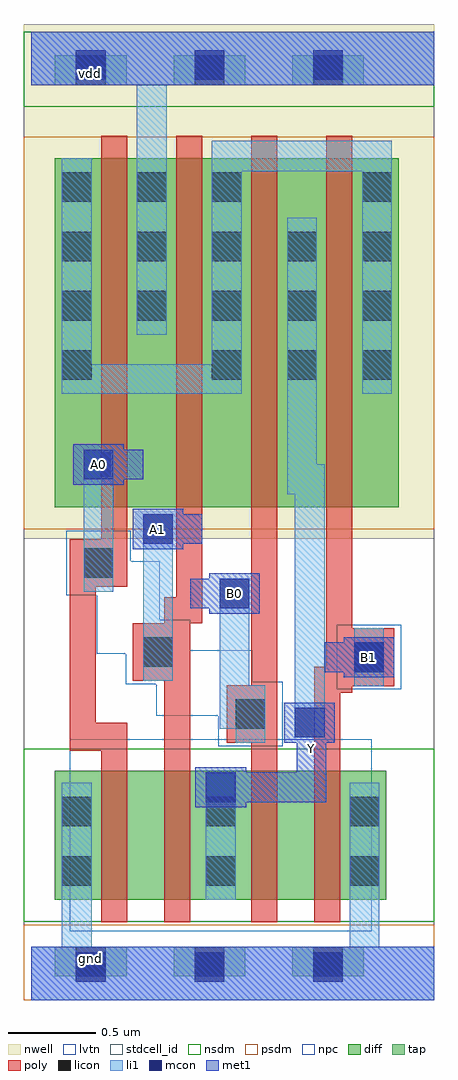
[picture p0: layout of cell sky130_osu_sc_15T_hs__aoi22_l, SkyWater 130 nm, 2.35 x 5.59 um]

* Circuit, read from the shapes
.subckt sky130_osu_sc_15T_hs__aoi22_l A0 A1 B0 B1 Y gnd vdd
XM1 n1 A0 gnd gnd sky130_fd_pr__nfet_01v8_lvt w=0.74 l=0.15
XM2 Y A1 n1 gnd sky130_fd_pr__nfet_01v8_lvt w=0.74 l=0.15
XM3 n2 B0 Y gnd sky130_fd_pr__nfet_01v8_lvt w=0.74 l=0.15
XM4 gnd B1 n2 gnd sky130_fd_pr__nfet_01v8_lvt w=0.74 l=0.15
XM5 vdd A0 n3 vdd sky130_fd_pr__pfet_01v8 w=2 l=0.15
XM6 n3 A1 vdd vdd sky130_fd_pr__pfet_01v8 w=2 l=0.15
XM7 Y B0 n3 vdd sky130_fd_pr__pfet_01v8 w=2 l=0.15
XM8 n3 B1 Y vdd sky130_fd_pr__pfet_01v8 w=2 l=0.15
.ends

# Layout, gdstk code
import gdstk
lib = gdstk.Library(unit=1e-6, precision=1e-09)
def R(c, l, rs):  # rectangles x0, y0, x1, y1
    for r in rs: c.add(gdstk.rectangle(r[:2], r[2:], *l))
def A(c, l, x, y, w, h, nx, ny, dx, dy):  # array of equal rectangles
    R(c, l, [(x+i*dx, y+j*dy, x+i*dx+w, y+j*dy+h) for i in range(nx) for j in range(ny)])
nwell = (64, 20)
diff = (65, 20)
tap = (65, 44)
poly = (66, 20)
licon = (66, 44)
li1 = (67, 20)
mcon = (67, 44)
met1 = (68, 20)
stdcell_id = (81, 4)
nsdm = (93, 44)
psdm = (94, 20)
npc = (95, 20)
lvtn = (125, 44)

sky130_osu_sc_15t_hs__ao = lib.new_cell('sky130_osu_sc_15T_hs__aoi22_l')
R(sky130_osu_sc_15t_hs__ao, nwell, [(-0.045,2.645,2.31,5.595)])
R(sky130_osu_sc_15t_hs__ao, diff, [(0.135,0.575,2.035,1.315), (0.135,2.825,2.105,4.825)])
A(sky130_osu_sc_15t_hs__ao, tap, 0.135, 0.135, 0.41, 0.17, 3, 2, 0.68, 5.11)
R(sky130_osu_sc_15t_hs__ao, poly, [(0.4,0.445,0.55,1.43), (0.76,0.445,0.91,1.83), (1.26,0.445,1.41,1.475), (1.62,0.445,1.77,1.76), (0.22,1.43,0.55,1.59), (1.12,1.475,1.41,1.805), (0.22,1.59,0.37,2.37), (1.62,1.76,1.84,1.8), (1.62,1.8,2.08,1.91), (1.26,1.805,1.41,4.955), (0.58,1.83,0.91,2.16), (1.69,1.91,2.08,2.13), (1.69,2.13,1.84,4.955), (0.76,2.16,0.98,2.31), (0.83,2.31,0.98,4.955), (0.22,2.37,0.55,2.64), (0.4,2.64,0.55,4.955)])
A(sky130_osu_sc_15t_hs__ao, licon, 0.255, 0.135, 0.17, 0.17, 3, 2, 0.68, 5.11)
A(sky130_osu_sc_15t_hs__ao, licon, 0.175, 0.655, 0.17, 0.17, 3, 2, 0.825, 0.34)
A(sky130_osu_sc_15t_hs__ao, licon, 1.035, 3.555, 0.17, 0.17, 3, 1, 0.43, 0)
A(sky130_osu_sc_15t_hs__ao, licon, 0.175, 3.895, 0.17, 0.17, 5, 2, 0.43, 0.34)
A(sky130_osu_sc_15t_hs__ao, licon, 0.175, 4.575, 0.17, 0.17, 3, 1, 0.43, 0)
R(sky130_osu_sc_15t_hs__ao, licon, [(1.17,1.555,1.34,1.725), (1.85,1.88,2.02,2.05), (0.64,1.91,0.81,2.08), (0.3,2.42,0.47,2.59), (0.175,3.555,0.345,3.725), (1.895,4.575,2.065,4.745)])
R(sky130_osu_sc_15t_hs__ao, li1, [(0,0,2.31,0.305), (0.175,0.305,0.345,1.245), (1.825,0.305,1.995,1.245), (1,0.575,1.17,1.305), (1.17,1.475,1.34,1.555), (1.51,1.505,1.68,2.9), (1.08,1.555,1.34,1.805), (1.85,1.8,2.02,2.13), (1.08,1.805,1.25,2.415), (0.64,1.83,0.81,2.785), (0.3,2.34,0.47,3.155), (1.465,2.9,1.68,3.07), (1.465,3.07,1.635,4.485), (0.175,3.475,1.205,3.645), (1.895,3.475,2.065,4.75), (0.175,3.645,0.345,4.825), (1.035,3.645,1.205,4.75), (0.605,3.815,0.775,5.245), (1.035,4.75,2.065,4.925), (0,5.245,2.31,5.55)])
A(sky130_osu_sc_15t_hs__ao, mcon, 0.255, 0.105, 0.17, 0.17, 3, 2, 0.68, 5.17)
R(sky130_osu_sc_15t_hs__ao, mcon, [(1,1.135,1.17,1.305), (1.51,1.505,1.68,1.675), (1.85,1.88,2.02,2.05), (1.08,2.245,1.25,2.415), (0.64,2.615,0.81,2.785), (0.3,2.985,0.47,3.155)])
R(sky130_osu_sc_15t_hs__ao, met1, [(0,0,2.31,0.305), (0.94,1.105,1.23,1.135), (0.94,1.135,1.69,1.305), (0.94,1.305,1.23,1.335), (1.52,1.305,1.69,1.475), (1.45,1.475,1.74,1.705), (1.79,1.85,2.08,1.88), (1.68,1.88,2.08,2.05), (1.79,2.05,2.08,2.08), (1.02,2.215,1.31,2.245), (0.91,2.245,1.31,2.415), (1.02,2.415,1.31,2.445), (0.58,2.585,0.87,2.615), (0.58,2.615,0.98,2.785), (0.58,2.785,0.87,2.815), (0.24,2.955,0.53,2.985), (0.24,2.985,0.64,3.155), (0.24,3.155,0.53,3.185), (0,5.245,2.31,5.55)])
R(sky130_osu_sc_15t_hs__ao, stdcell_id, [(-0.045,0,2.31,5.55)])
R(sky130_osu_sc_15t_hs__ao, nsdm, [(-0.045,0.45,2.31,1.44), (-0.045,5.12,2.31,5.55)])
R(sky130_osu_sc_15t_hs__ao, psdm, [(-0.045,0,2.31,0.43), (-0.045,2.7,2.31,4.95)])
R(sky130_osu_sc_15t_hs__ao, npc, [(1.07,1.455,1.44,1.63), (0.715,1.63,1.44,1.81), (1.75,1.78,2.12,2.15), (0.54,1.81,1.44,1.825), (0.54,1.825,1.265,1.985), (0.375,1.985,1.265,2.005), (0.375,2.005,0.91,2.18), (0.375,2.18,0.735,2.32), (0.2,2.32,0.735,2.515), (0.2,2.515,0.57,2.69)])
R(sky130_osu_sc_15t_hs__ao, lvtn, [(0.22,0.395,1.95,1.495)])
sky130_osu_sc_15t_hs__ao.add(gdstk.Label('gnd', (0.34,0.24), layer=68, texttype=16))
sky130_osu_sc_15t_hs__ao.add(gdstk.Label('vdd', (0.34,5.31), layer=68, texttype=16))
sky130_osu_sc_15t_hs__ao.add(gdstk.Label('A0', (0.385,3.07), layer=68, texttype=5))
sky130_osu_sc_15t_hs__ao.add(gdstk.Label('B0', (1.165,2.33), layer=68, texttype=5))
sky130_osu_sc_15t_hs__ao.add(gdstk.Label('A1', (0.725,2.7), layer=68, texttype=5))
sky130_osu_sc_15t_hs__ao.add(gdstk.Label('B1', (1.935,1.965), layer=68, texttype=5))
sky130_osu_sc_15t_hs__ao.add(gdstk.Label('Y', (1.605,1.44), layer=68, texttype=5))

lib.write_gds('sky130_osu_sc_15T_hs__aoi22_l.gds')
